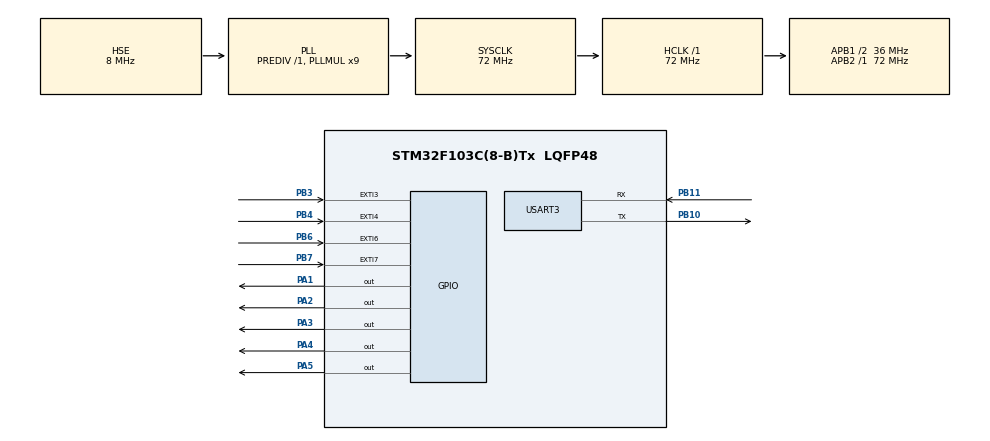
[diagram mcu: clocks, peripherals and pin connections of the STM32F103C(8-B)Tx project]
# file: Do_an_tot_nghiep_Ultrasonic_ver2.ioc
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Dma.Request0=USART3_RX
Dma.Request1=USART3_TX
Dma.USART3_RX.0.Direction=DMA_PERIPH_TO_MEMORY
Dma.USART3_RX.0.Instance=DMA1_Channel3
Dma.USART3_RX.0.MemDataAlignment=DMA_MDATAALIGN_BYTE
Dma.USART3_RX.0.MemInc=DMA_MINC_ENABLE
Dma.USART3_RX.0.Mode=DMA_CIRCULAR
Dma.USART3_RX.0.PeriphDataAlignment=DMA_PDATAALIGN_BYTE
Dma.USART3_RX.0.PeriphInc=DMA_PINC_DISABLE
Dma.USART3_RX.0.Priority=DMA_PRIORITY_LOW
Dma.USART3_TX.1.Direction=DMA_MEMORY_TO_PERIPH
Dma.USART3_TX.1.Instance=DMA1_Channel2
Dma.USART3_TX.1.MemDataAlignment=DMA_MDATAALIGN_BYTE
Dma.USART3_TX.1.MemInc=DMA_MINC_ENABLE
Dma.USART3_TX.1.Mode=DMA_NORMAL
Dma.USART3_TX.1.PeriphDataAlignment=DMA_PDATAALIGN_BYTE
Dma.USART3_TX.1.PeriphInc=DMA_PINC_DISABLE
Dma.USART3_TX.1.Priority=DMA_PRIORITY_LOW
Mcu.Family=STM32F1
Mcu.Name=STM32F103C(8-B)Tx
Mcu.Package=LQFP48
NVIC.DMA1_Channel2_IRQn=true\:0\:0\:false\:false\:true\:false\:true\:true
NVIC.DMA1_Channel3_IRQn=true\:0\:0\:false\:false\:true\:false\:true\:true
NVIC.EXTI3_IRQn=true\:0\:0\:false\:false\:true\:true\:true\:true
NVIC.EXTI4_IRQn=true\:0\:0\:false\:false\:true\:true\:true\:true
NVIC.EXTI9_5_IRQn=true\:0\:0\:false\:false\:true\:true\:true\:true
NVIC.PriorityGroup=NVIC_PRIORITYGROUP_4
NVIC.TIM1_BRK_IRQn=true\:0\:0\:false\:false\:true\:true\:true\:true
NVIC.TIM1_UP_IRQn=true\:0\:0\:false\:false\:true\:true\:true\:true
NVIC.TIM3_IRQn=true\:0\:0\:false\:false\:true\:true\:true\:true
NVIC.USART3_IRQn=true\:0\:0\:false\:false\:true\:true\:true\:true
PA1.Signal=GPIO_Output
PA13.Mode=Serial_Wire
PA13.Signal=SYS_JTMS-SWDIO
PA14.Mode=Serial_Wire
PA14.Signal=SYS_JTCK-SWCLK
PA2.Signal=GPIO_Output
PA3.Signal=GPIO_Output
PA4.Signal=GPIO_Output
PA5.Signal=GPIO_Output
PB10.Mode=Asynchronous
PB10.Signal=USART3_TX
PB11.Mode=Asynchronous
PB11.Signal=USART3_RX
PB3.GPIO_ModeDefaultEXTI=GPIO_MODE_IT_RISING_FALLING
PB3.Signal=GPXTI3
PB4.GPIO_ModeDefaultEXTI=GPIO_MODE_IT_RISING_FALLING
PB4.Signal=GPXTI4
PB6.GPIO_ModeDefaultEXTI=GPIO_MODE_IT_RISING_FALLING
PB6.Signal=GPXTI6
PB7.GPIO_ModeDefaultEXTI=GPIO_MODE_IT_RISING_FALLING
PB7.Signal=GPXTI7
PD0-OSC_IN.Mode=HSE-External-Oscillator
PD0-OSC_IN.Signal=RCC_OSC_IN
PD1-OSC_OUT.Mode=HSE-External-Oscillator
PD1-OSC_OUT.Signal=RCC_OSC_OUT
ProjectManager.HeapSize=0x200
ProjectManager.StackSize=0x400
ProjectManager.TargetToolchain=STM32CubeIDE
RCC.AHBFreq_Value=72000000
RCC.APB1CLKDivider=RCC_HCLK_DIV2
RCC.APB1Freq_Value=36000000
RCC.APB1TimFreq_Value=72000000
RCC.APB2Freq_Value=72000000
RCC.APB2TimFreq_Value=72000000
RCC.HCLKFreq_Value=72000000
RCC.PLLMUL=RCC_PLL_MUL9
RCC.PLLSourceVirtual=RCC_PLLSOURCE_HSE
RCC.SYSCLKFreq_VALUE=72000000
RCC.SYSCLKSource=RCC_SYSCLKSOURCE_PLLCLK
RCC.USBFreq_Value=72000000
TIM1.Prescaler=72-1
TIM2.Period=65535
TIM2.Prescaler=72-1
TIM3.Period=2000-1
TIM3.Prescaler=72-1
USART3.VirtualMode=VM_ASYNC
VP_TIM1_VS_ClockSourceINT.Mode=Internal
VP_TIM2_VS_ClockSourceINT.Mode=Internal
VP_TIM3_VS_ClockSourceINT.Mode=Internal
board=custom

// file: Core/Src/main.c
/* USER CODE BEGIN Header */
/**
  ******************************************************************************
  * @file           : main.c
  * @brief          : Main program body
  ******************************************************************************
  * @attention
  *
  * Copyright (c) 2025 STMicroelectronics.
  * All rights reserved.
  *
  * This software is licensed under terms that can be found in the LICENSE file
  * in the root directory of this software component.
  * If no LICENSE file comes with this software, it is provided AS-IS.
  *
  ******************************************************************************
  */
/* USER CODE END Header */
#include "main.h"

/* USER CODE BEGIN Includes */
#include "Ultrasonic_External_Interrupt.h"
#include "stdio.h"
#include "stdlib.h"
#include "string.h"
/* USER CODE END Includes */

/* USER CODE BEGIN PD */
#define Visualize_Measurement 0
/* USER CODE END PD */

TIM_HandleTypeDef htim1;
TIM_HandleTypeDef htim2;
TIM_HandleTypeDef htim3;

UART_HandleTypeDef huart3;
DMA_HandleTypeDef hdma_usart3_rx;
DMA_HandleTypeDef hdma_usart3_tx;

/* USER CODE BEGIN PV */
uint8_t overfloat1;
uint8_t check_timer3;
#if Visualize_Measurement==1
uint8_t i;
#endif

Ultrasonic_Measurement_TypeDef Ultra1;
Ultrasonic_Measurement_TypeDef Ultra2;
Ultrasonic_Measurement_TypeDef Ultra3;
Ultrasonic_Measurement_TypeDef Ultra4;

uint8_t uart3_tx_buffer [8];
uint8_t j;
/* USER CODE END PV */

void SystemClock_Config(void);
static void MX_GPIO_Init(void);
static void MX_DMA_Init(void);
static void MX_USART3_UART_Init(void);
static void MX_TIM2_Init(void);
static void MX_TIM1_Init(void);
static void MX_TIM3_Init(void);

/* USER CODE BEGIN 0 */

void HAL_GPIO_EXTI_Callback(uint16_t GPIO_Pin)
{
  if(GPIO_Pin == GPIO_PIN_3)
  {
	  Read_Pulse(GPIOB,GPIO_PIN_3,&Ultra1,&overfloat1,Trig_Ultrasonic2);

  }
  else if(GPIO_Pin==GPIO_PIN_4)
  {
	  Read_Pulse(GPIOB,GPIO_PIN_4,&Ultra2,&overfloat1,Trig_Ultrasonic1);
  }
  else if(GPIO_Pin==GPIO_PIN_6)
  {
	  Read_Pulse(GPIOB,GPIO_PIN_6,&Ultra3,&overfloat1,Trig_Ultrasonic3);
  }
  else if(GPIO_Pin==GPIO_PIN_7)
  {
	  Read_Pulse(GPIOB,GPIO_PIN_7,&Ultra4,&overfloat1,Trig_Ultrasonic4);
  }

}

void HAL_TIM_PeriodElapsedCallback(TIM_HandleTypeDef *htim) //ngat input capture 1
{
	if(htim->Instance==TIM1)
	{
		overfloat1++;
	}
	else if(htim->Instance==TIM2)
	{

	}
	else if(htim->Instance==TIM3)
	{
		check_timer3=1;
	}
	else if(htim->Instance==TIM4)
	{

	}

}

/* USER CODE END 0 */

int main(void)
{

  /* MCU Configuration--------------------------------------------------------*/

  /* Reset of all peripherals, Initializes the Flash interface and the Systick. */
  HAL_Init();

  /* Configure the system clock */
  SystemClock_Config();

  /* Initialize all configured peripherals */
  MX_GPIO_Init();
  MX_DMA_Init();
  MX_USART3_UART_Init();
  MX_TIM2_Init();
  MX_TIM1_Init();
  MX_TIM3_Init();
  /* USER CODE BEGIN 2 */
  HAL_TIM_Base_Start_IT(&htim1);
  HAL_TIM_Base_Start(&htim2);
  HAL_TIM_Base_Start_IT(&htim3);
  Trig_Ultrasonic1();
//  Trig_Ultrasonic2();
//  Trig_Ultrasonic3();
//  Trig_Ultrasonic4();
  /* USER CODE END 2 */

  /* Infinite loop */
  while (1)
  {

    /* USER CODE BEGIN 3 */
	  if(check_timer3==1)
	  {
		  Signal_Smoothing(&Ultra1);
		  Signal_Smoothing(&Ultra2);
#if Visualize_Measurement==0
		  if(Ultra1.Filtered_Distance<30 || Ultra2.Filtered_Distance<30)
		  {
			 j='1';
			 memcpy(uart3_tx_buffer,&j,1);
		  }
		  else
		  {
			 j='0';
			 memcpy(uart3_tx_buffer,&j,1);
		  }
		  HAL_UART_Transmit_DMA(&huart3, uart3_tx_buffer,strlen((char*)uart3_tx_buffer));
#endif
#if Visualize_Measurement==1
		  i++;
		  if(i==5)
		  {
			  sprintf((char*)uart3_tx_buffer,"%f/%f/0\n",Ultra1.Distance,Ultra1.Filtered_Distance);
			  HAL_UART_Transmit_DMA(&huart3, uart3_tx_buffer,strlen((char*)uart3_tx_buffer));
			  i=0;
		  }
#endif
		  check_timer3=0;
	  }

  }
  /* USER CODE END 3 */
}

void SystemClock_Config(void)
{
  RCC_OscInitTypeDef RCC_OscInitStruct = {0};
  RCC_ClkInitTypeDef RCC_ClkInitStruct = {0};

  /** Initializes the RCC Oscillators according to the specified parameters
  * in the RCC_OscInitTypeDef structure.
  */
  RCC_OscInitStruct.OscillatorType = RCC_OSCILLATORTYPE_HSE;
  RCC_OscInitStruct.HSEState = RCC_HSE_ON;
  RCC_OscInitStruct.HSEPredivValue = RCC_HSE_PREDIV_DIV1;
  RCC_OscInitStruct.HSIState = RCC_HSI_ON;
  RCC_OscInitStruct.PLL.PLLState = RCC_PLL_ON;
  RCC_OscInitStruct.PLL.PLLSource = RCC_PLLSOURCE_HSE;
  RCC_OscInitStruct.PLL.PLLMUL = RCC_PLL_MUL9;
  if (HAL_RCC_OscConfig(&RCC_OscInitStruct) != HAL_OK)
  {
    Error_Handler();
  }

  /** Initializes the CPU, AHB and APB buses clocks
  */
  RCC_ClkInitStruct.ClockType = RCC_CLOCKTYPE_HCLK|RCC_CLOCKTYPE_SYSCLK
                              |RCC_CLOCKTYPE_PCLK1|RCC_CLOCKTYPE_PCLK2;
  RCC_ClkInitStruct.SYSCLKSource = RCC_SYSCLKSOURCE_PLLCLK;
  RCC_ClkInitStruct.AHBCLKDivider = RCC_SYSCLK_DIV1;
  RCC_ClkInitStruct.APB1CLKDivider = RCC_HCLK_DIV2;
  RCC_ClkInitStruct.APB2CLKDivider = RCC_HCLK_DIV1;

  if (HAL_RCC_ClockConfig(&RCC_ClkInitStruct, FLASH_LATENCY_2) != HAL_OK)
  {
    Error_Handler();
  }
}

static void MX_TIM1_Init(void)
{

  TIM_ClockConfigTypeDef sClockSourceConfig = {0};
  TIM_MasterConfigTypeDef sMasterConfig = {0};

  htim1.Instance = TIM1;
  htim1.Init.Prescaler = 72-1;
  htim1.Init.CounterMode = TIM_COUNTERMODE_UP;
  htim1.Init.Period = 65535;
  htim1.Init.ClockDivision = TIM_CLOCKDIVISION_DIV1;
  htim1.Init.RepetitionCounter = 0;
  htim1.Init.AutoReloadPreload = TIM_AUTORELOAD_PRELOAD_DISABLE;
  if (HAL_TIM_Base_Init(&htim1) != HAL_OK)
  {
    Error_Handler();
  }
  sClockSourceConfig.ClockSource = TIM_CLOCKSOURCE_INTERNAL;
  if (HAL_TIM_ConfigClockSource(&htim1, &sClockSourceConfig) != HAL_OK)
  {
    Error_Handler();
  }
  sMasterConfig.MasterOutputTrigger = TIM_TRGO_RESET;
  sMasterConfig.MasterSlaveMode = TIM_MASTERSLAVEMODE_DISABLE;
  if (HAL_TIMEx_MasterConfigSynchronization(&htim1, &sMasterConfig) != HAL_OK)
  {
    Error_Handler();
  }

}

static void MX_TIM2_Init(void)
{

  TIM_ClockConfigTypeDef sClockSourceConfig = {0};
  TIM_MasterConfigTypeDef sMasterConfig = {0};

  htim2.Instance = TIM2;
  htim2.Init.Prescaler = 72-1;
  htim2.Init.CounterMode = TIM_COUNTERMODE_UP;
  htim2.Init.Period = 65535;
  htim2.Init.ClockDivision = TIM_CLOCKDIVISION_DIV1;
  htim2.Init.AutoReloadPreload = TIM_AUTORELOAD_PRELOAD_DISABLE;
  if (HAL_TIM_Base_Init(&htim2) != HAL_OK)
  {
    Error_Handler();
  }
  sClockSourceConfig.ClockSource = TIM_CLOCKSOURCE_INTERNAL;
  if (HAL_TIM_ConfigClockSource(&htim2, &sClockSourceConfig) != HAL_OK)
  {
    Error_Handler();
  }
  sMasterConfig.MasterOutputTrigger = TIM_TRGO_RESET;
  sMasterConfig.MasterSlaveMode = TIM_MASTERSLAVEMODE_DISABLE;
  if (HAL_TIMEx_MasterConfigSynchronization(&htim2, &sMasterConfig) != HAL_OK)
  {
    Error_Handler();
  }

}

static void MX_TIM3_Init(void)
{

  TIM_ClockConfigTypeDef sClockSourceConfig = {0};
  TIM_MasterConfigTypeDef sMasterConfig = {0};

  htim3.Instance = TIM3;
  htim3.Init.Prescaler = 72-1;
  htim3.Init.CounterMode = TIM_COUNTERMODE_UP;
  htim3.Init.Period = 2000-1;
  htim3.Init.ClockDivision = TIM_CLOCKDIVISION_DIV1;
  htim3.Init.AutoReloadPreload = TIM_AUTORELOAD_PRELOAD_DISABLE;
  if (HAL_TIM_Base_Init(&htim3) != HAL_OK)
  {
    Error_Handler();
  }
  sClockSourceConfig.ClockSource = TIM_CLOCKSOURCE_INTERNAL;
  if (HAL_TIM_ConfigClockSource(&htim3, &sClockSourceConfig) != HAL_OK)
  {
    Error_Handler();
  }
  sMasterConfig.MasterOutputTrigger = TIM_TRGO_RESET;
  sMasterConfig.MasterSlaveMode = TIM_MASTERSLAVEMODE_DISABLE;
  if (HAL_TIMEx_MasterConfigSynchronization(&htim3, &sMasterConfig) != HAL_OK)
  {
    Error_Handler();
  }

}

static void MX_USART3_UART_Init(void)
{

  huart3.Instance = USART3;
  huart3.Init.BaudRate = 115200;
  huart3.Init.WordLength = UART_WORDLENGTH_8B;
  huart3.Init.StopBits = UART_STOPBITS_1;
  huart3.Init.Parity = UART_PARITY_NONE;
  huart3.Init.Mode = UART_MODE_TX_RX;
  huart3.Init.HwFlowCtl = UART_HWCONTROL_NONE;
  huart3.Init.OverSampling = UART_OVERSAMPLING_16;
  if (HAL_UART_Init(&huart3) != HAL_OK)
  {
    Error_Handler();
  }

}

static void MX_DMA_Init(void)
{

  /* DMA controller clock enable */
  __HAL_RCC_DMA1_CLK_ENABLE();

  /* DMA interrupt init */
  /* DMA1_Channel2_IRQn interrupt configuration */
  HAL_NVIC_SetPriority(DMA1_Channel2_IRQn, 0, 0);
  HAL_NVIC_EnableIRQ(DMA1_Channel2_IRQn);
  /* DMA1_Channel3_IRQn interrupt configuration */
  HAL_NVIC_SetPriority(DMA1_Channel3_IRQn, 0, 0);
  HAL_NVIC_EnableIRQ(DMA1_Channel3_IRQn);

}

static void MX_GPIO_Init(void)
{
  GPIO_InitTypeDef GPIO_InitStruct = {0};

  /* GPIO Ports Clock Enable */
  __HAL_RCC_GPIOD_CLK_ENABLE();
  __HAL_RCC_GPIOA_CLK_ENABLE();
  __HAL_RCC_GPIOB_CLK_ENABLE();

  /*Configure GPIO pin Output Level */
  HAL_GPIO_WritePin(GPIOA, GPIO_PIN_1|GPIO_PIN_2|GPIO_PIN_3|GPIO_PIN_4
                          |GPIO_PIN_5, GPIO_PIN_RESET);

  /*Configure GPIO pins : PA1 PA2 PA3 PA4
                           PA5 */
  GPIO_InitStruct.Pin = GPIO_PIN_1|GPIO_PIN_2|GPIO_PIN_3|GPIO_PIN_4
                          |GPIO_PIN_5;
  GPIO_InitStruct.Mode = GPIO_MODE_OUTPUT_PP;
  GPIO_InitStruct.Pull = GPIO_NOPULL;
  GPIO_InitStruct.Speed = GPIO_SPEED_FREQ_LOW;
  HAL_GPIO_Init(GPIOA, &GPIO_InitStruct);

  /*Configure GPIO pins : PB3 PB4 PB6 PB7 */
  GPIO_InitStruct.Pin = GPIO_PIN_3|GPIO_PIN_4|GPIO_PIN_6|GPIO_PIN_7;
  GPIO_InitStruct.Mode = GPIO_MODE_IT_RISING_FALLING;
  GPIO_InitStruct.Pull = GPIO_NOPULL;
  HAL_GPIO_Init(GPIOB, &GPIO_InitStruct);

  /* EXTI interrupt init*/
  HAL_NVIC_SetPriority(EXTI3_IRQn, 0, 0);
  HAL_NVIC_EnableIRQ(EXTI3_IRQn);

  HAL_NVIC_SetPriority(EXTI4_IRQn, 0, 0);
  HAL_NVIC_EnableIRQ(EXTI4_IRQn);

  HAL_NVIC_SetPriority(EXTI9_5_IRQn, 0, 0);
  HAL_NVIC_EnableIRQ(EXTI9_5_IRQn);

}

void Error_Handler(void)
{
  __disable_irq();
  while (1)
  {
  }
}
